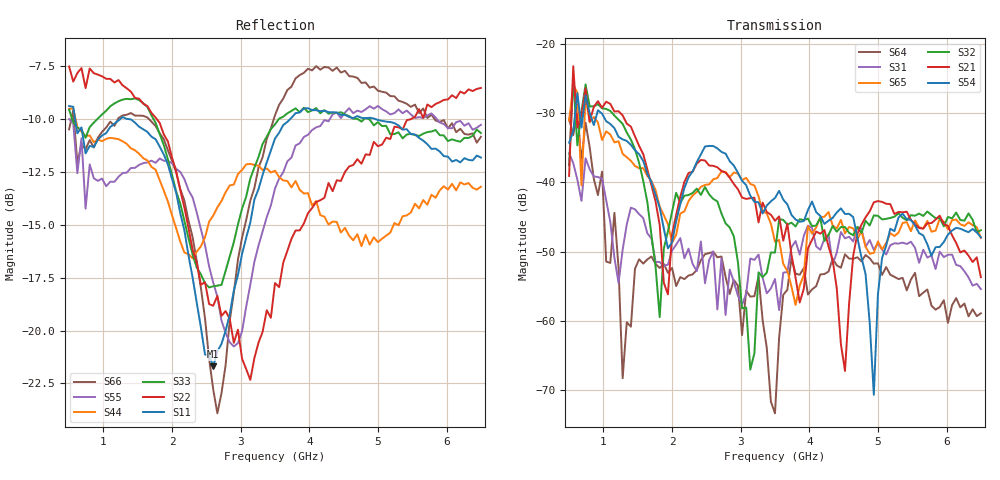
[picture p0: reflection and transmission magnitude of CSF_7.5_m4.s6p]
!Keysight Technologies,M9804A,MY58100912,A.14.10.03
!Date: Thursday, April 27, 2023 10:28:33
!Correction: S11(C  6-Port  )
!S12(C  6-Port  )
!S13(C  6-Port  )
!S14(C  6-Port  )
!S15(C  6-Port  )
!S16(C  6-Port  )
!S21(C  6-Port  )
!S22(C  6-Port  )
!S23(C  6-Port  )
!S24(C  6-Port  )
!S25(C  6-Port  )
!S26(C  6-Port  )
!S31(C  6-Port  )
!S32(C  6-Port  )
!S33(C  6-Port  )
!S34(C  6-Port  )
!S35(C  6-Port  )
!S36(C  6-Port  )
!S41(C  6-Port  )
!S42(C  6-Port  )
!S43(C  6-Port  )
!S44(C  6-Port  )
!S45(C  6-Port  )
!S46(C  6-Port  )
!S51(C  6-Port  )
!S52(C  6-Port  )
!S53(C  6-Port  )
!S54(C  6-Port  )
!S55(C  6-Port  )
!S56(C  6-Port  )
!S61(C  6-Port  )
!S62(C  6-Port  )
!S63(C  6-Port  )
!S64(C  6-Port  )
!S65(C  6-Port  )
!S66(C  6-Port  )
!S6P File: Measurement: :
# Hz S  RI  R 50
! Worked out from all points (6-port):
!   101 points, 500 MHz to 6.5 GHz, reference 50 ohm
!   strongest paths, dB at 500 MHz, 2 GHz, 3.5 GHz, 5 GHz, 6.5 GHz:
!     S54: -34.3, -48.6, -42.2, -56.1, -47.9
!     S21: -39.1, -47.5, -45.5, -42.7, -53.7
!     S32: -37.5, -44.2, -50.1, -44.8, -46.9
!     S65: -31.0, -48.7, -48.6, -48.5, -48.0
!     S31: -35.8, -49.9, -54.0, -48.8, -55.4
!     S64: -30.8, -52.4, -73.4, -51.7, -58.9
!   lowest |S11| = -21.7 dB at 2.6 GHz (marker M1), VSWR 1.18, Z = 42.6 + j2.03 ohm
!   |S11| at or under -10 dB: 587.9 MHz to 1.244 GHz (655.8 MHz wide, 71.6 % of centre); 1.37 GHz to 3.72 GHz (2.35 GHz wide, 92.3 % of centre); 4.965 GHz to end of sweep
